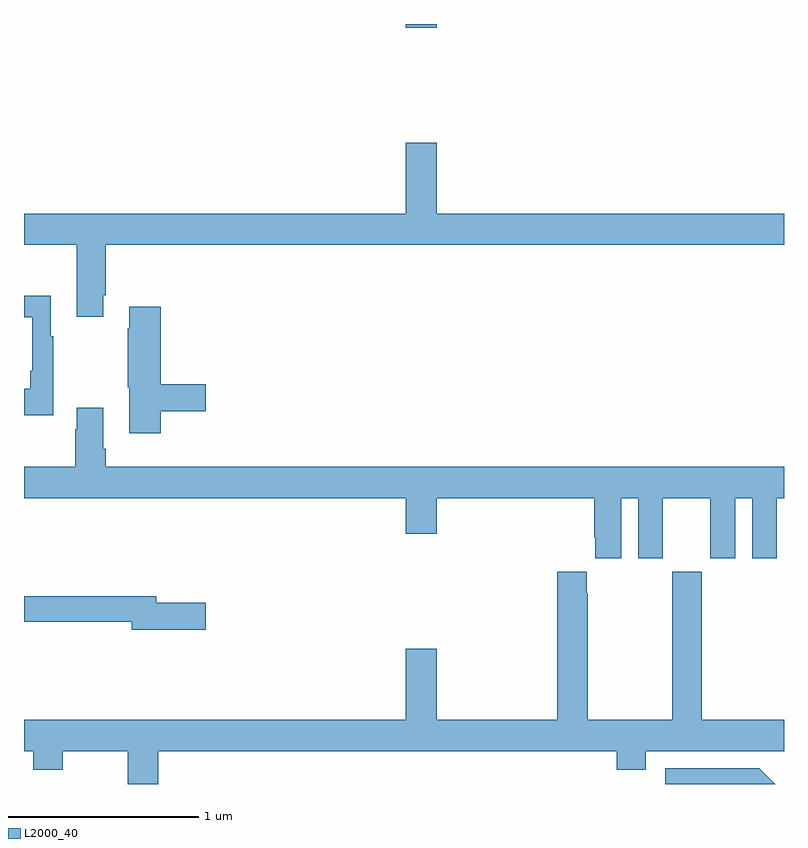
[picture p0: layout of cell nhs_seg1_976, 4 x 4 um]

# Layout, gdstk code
import gdstk
lib = gdstk.Library(unit=1e-6, precision=1e-09)
def R(c, l, rs):  # rectangles x0, y0, x1, y1
    for r in rs: c.add(gdstk.rectangle(r[:2], r[2:], *l))
def P(c, l, *ps):  # polygons
    for p in ps: c.add(gdstk.Polygon(p, *l))
L2000_40 = (2000, 40)

nhs_seg1_976 = lib.new_cell('nhs_seg1_976')
R(nhs_seg1_976, L2000_40, [(165.008,582.18,165.172,582.199)])
P(nhs_seg1_976, L2000_40, [(163.417,580.771),(163.43,580.771),(163.43,581.036),(167,581.036),(167,581.2),(165.172,581.2),(165.172,581.575),(165.008,581.575),(165.008,581.2),(163,581.2),(163,581.036),(163.277,581.036),(163.277,580.659),(163.417,580.659)],
  [(163.153,580.555),(163.141,580.555),(163.141,580.768),(163,580.768),(163,580.655),(163.044,580.655),(163.044,580.375),(163.032,580.375),(163.032,580.279),(163,580.279),(163,580.139),(163.153,580.139)],
  [(163.721,580.162),(163.957,580.162),(163.957,580.304),(163.721,580.304),(163.721,580.711),(163.553,580.711),(163.553,580.598),(163.546,580.598),(163.546,580.287),(163.553,580.287),(163.553,580.044),(163.721,580.044)],
  [(163.43,579.964),(163.417,579.964),(163.417,580.18),(163.277,580.18),(163.277,580.067),(163.27,580.067),(163.27,579.868),(163,579.868),(163,579.704),(165.008,579.704),(165.008,579.516),(165.172,579.516),(165.172,579.704),(166.001,579.704),(166.001,579.499),(166.007,579.499),(166.007,579.387),(166.144,579.387),(166.144,579.704),(166.232,579.704),(166.232,579.387),(166.363,579.387),(166.363,579.704),(166.613,579.704),(166.613,579.387),(166.744,579.387),(166.744,579.704),(166.832,579.704),(166.832,579.387),(166.963,579.387),(166.963,579.704),(167,579.704),(167,579.868),(163.43,579.868)],
  [(163.706,578.372),(166.121,578.372),(166.121,578.273),(166.273,578.273),(166.273,578.372),(167,578.372),(167,578.536),(166.566,578.536),(166.566,579.316),(166.411,579.316),(166.411,578.536),(165.966,578.536),(165.966,579.203),(165.961,579.203),(165.961,579.316),(165.806,579.316),(165.806,578.536),(165.172,578.536),(165.172,578.911),(165.008,578.911),(165.008,578.536),(163,578.536),(163,578.372),(163.048,578.372),(163.048,578.273),(163.203,578.273),(163.203,578.372),(163.546,578.372),(163.546,578.199),(163.706,578.199)],
  [(163.957,579.152),(163.696,579.152),(163.696,579.188),(163,579.188),(163,579.052),(163.568,579.052),(163.568,579.01),(163.957,579.01)],
  [(166.871,578.281),(166.374,578.281),(166.374,578.199),(166.953,578.199)])

lib.write_gds('nhs_seg1_976.gds')
